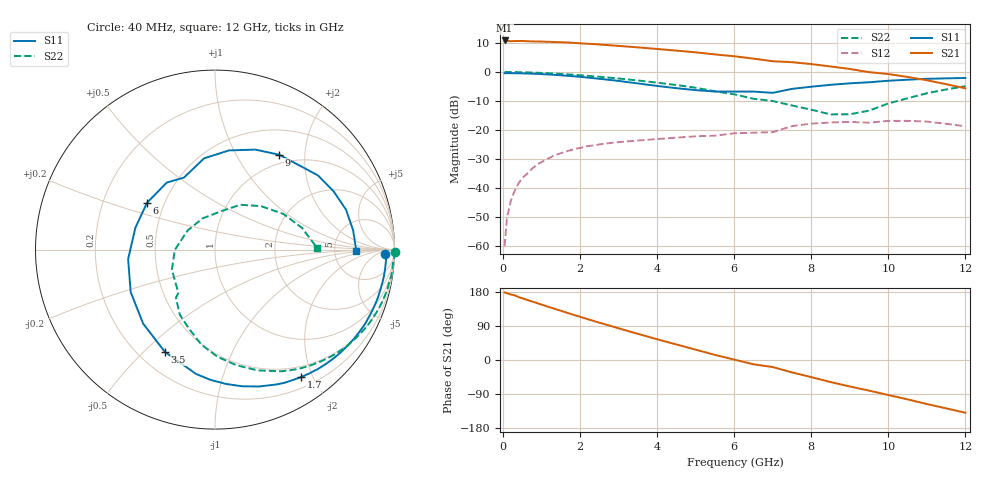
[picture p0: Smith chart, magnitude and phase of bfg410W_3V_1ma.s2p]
! Filename: 31bfg410.001
! BFG410W Field B1
! V1=8.131E-001V,V2=3.000E+000V, I1=1.296E-005A, I2=1.000E-003A
# GHz  S  MA  R 50
!  S11  S21  S12  S22
!Freq(GHz)  Mag  Ang  Mag  Ang  Mag  Ang  Mag  Ang
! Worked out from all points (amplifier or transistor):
!   44 points, 40 MHz to 12 GHz, reference 50 ohm
!   highest |S21| = 10.9 dB at 40 MHz (marker M1)
!   |S21| within 3 dB of that: start of sweep to 4.056 GHz
!   unconditionally stable (mu >= 1): 3.78 GHz to end of sweep
!   at 700 MHz: K = 0.12, MSG = 22.3 dB, |S12| = -34.0 dB
!   at 2.4 GHz: K = 0.47, MSG = 17.4 dB, |S12| = -25.2 dB
!   at 12 GHz: K = 2.26, MAG = 0.2 dB, |S12| = -18.7 dB
!   S11 on the Smith chart (normalised r, x): 40 MHz: 31, -16; 1.7 GHz: 0.34, -1.83; 3.5 GHz: 0.30, -0.58; 6 GHz: 0.40, +0.26; 9 GHz: 0.86, +1.53; 12 GHz: 8.41, -0.46
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0.04  0.95 -1.5  3.492 178.1  0.001 51.5  1.002 -0.7
0.1  0.955 -3.3  3.423 176.6  0.003 88.2  1.001 -2.0
0.2  0.954 -6.6  3.399 172.9  0.006 83.9  0.994 -4.5
0.3  0.952 -10.0  3.407 170.6  0.009 82.2  0.995 -6.6
0.4  0.949 -13.0  3.421 166.2  0.012 80.0  0.992 -9.0
1  0.919 -33.0  3.338 146.1  0.028 65.5  0.963 -22.0
1.7  0.857 -56.0  3.218 123.5  0.044 50.1  0.909 -36.4
2.2  0.801 -72.2  3.064 107.7  0.053 40.4  0.859 -46.3
2.8  0.726 -92.0  2.877 89.6  0.06 30.1  0.794 -57.7
3.5  0.635 -116.0  2.654 69.1  0.066 20.3  0.714 -70.5
4  0.575 -134.1  2.49 54.7  0.07 14.6  0.655 -79.5
4.5  0.526 -153.3  2.334 41.0  0.074 9.8  0.597 -88.7
5  0.487 -173.7  2.179 27.3  0.078 4.8  0.535 -98.1
6  0.46 145.5  1.867 1.1  0.088 -3.6  0.413 -118.3
6.5  0.46 125.7  1.699 -11.4  0.09 -8.4  0.346 -129.0
7  0.437 113.3  1.531 -18.6  0.092 6.2  0.316 -130.3
7.5  0.512 96.8  1.475 -32.8  0.117 -10.9  0.265 -155.0
8.5  0.601 68.0  1.245 -58.2  0.135 -34.1  0.186 145.1
9  0.638 56.0  1.127 -69.8  0.138 -43.7  0.187 111.7
10.5  0.736 26.3  0.821 -103.9  0.144 -74.2  0.353 43.3
11  0.763 17.0  0.721 -116.2  0.14 -88.2  0.43 27.5
12  0.788 -0.8  0.523 -139.2  0.116 -115.5  0.569 0.9
